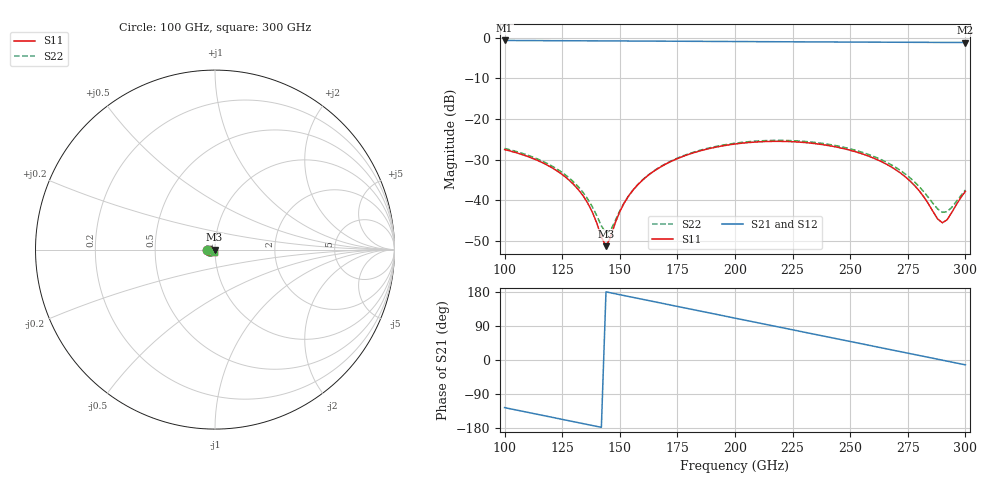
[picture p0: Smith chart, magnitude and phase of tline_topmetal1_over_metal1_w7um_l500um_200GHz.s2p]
#  GHZ S DB R 50
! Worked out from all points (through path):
!   101 points, 100 GHz to 300 GHz, reference 50 ohm
!   highest |S21| = -0.64 dB at 100 GHz (marker M1); lowest = -1.1 dB at 300 GHz (marker M2)
!   group delay of S21, straight-line fit = 3.43 ps
!   lowest |S11| = -51.4 dB at 144 GHz (marker M3), VSWR 1.01, Z = 49.8 - j0.117 ohm
!   |S11| at or under -10 dB: start of sweep to end of sweep
!   |S22| runs from -48.2 to -25.3 dB; largest |S21 - S12| = 1.5e-14
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100  -27.56 -179.5  -0.64 -125.7  -0.64 -125.7  -27.28 -177.2
120  -31.85 154.6  -0.69 -150.5  -0.69 -150.5  -31.44 158.2
128  -35.09 146.3  -0.71 -160.4  -0.71 -160.4  -34.54 151.0
134  -38.90 143.1  -0.72 -167.8  -0.72 -167.8  -38.09 149.1
138  -42.88 146.0  -0.73 -172.8  -0.73 -172.8  -41.58 153.4
144  -51.38 -154.2  -0.75 179.8  -0.75 179.8  -48.16 -160.7
146  -49.12 -117.3  -0.75 177.3  -0.75 177.3  -47.49 -131.0
150  -42.85 -94.2  -0.76 172.4  -0.76 172.4  -42.66 -101.7
154  -38.85 -91.2  -0.77 167.4  -0.77 167.4  -38.81 -95.0
160  -35.01 -94.1  -0.79 160.0  -0.79 160.0  -34.96 -95.5
168  -31.74 -101.9  -0.81 150.1  -0.81 150.1  -31.64 -101.8
182  -28.35 -118.1  -0.85 132.7  -0.85 132.7  -28.20 -116.8
200  -26.18 -139.8  -0.90 110.5  -0.90 110.5  -25.98 -137.6
216  -25.53 -159.2  -0.95 90.7  -0.95 90.7  -25.30 -156.3
234  -26.03 179.4  -0.99 68.6  -0.99 68.6  -25.75 -176.9
252  -28.04 159.0  -1.04 46.4  -1.04 46.4  -27.68 163.7
268  -31.90 143.6  -1.07 26.7  -1.07 26.7  -31.36 149.8
278  -36.45 139.8  -1.09 14.4  -1.09 14.4  -35.56 147.6
288  -44.70 171.4  -1.11 2.0  -1.11 2.0  -42.23 175.7
290  -45.61 -167.1  -1.12 -0.4  -1.12 -0.4  -43.03 -168.6
294  -43.15 -129.0  -1.13 -5.4  -1.13 -5.4  -41.86 -136.5
300  -37.85 -111.7  -1.14 -12.8  -1.14 -12.8  -37.52 -115.2
